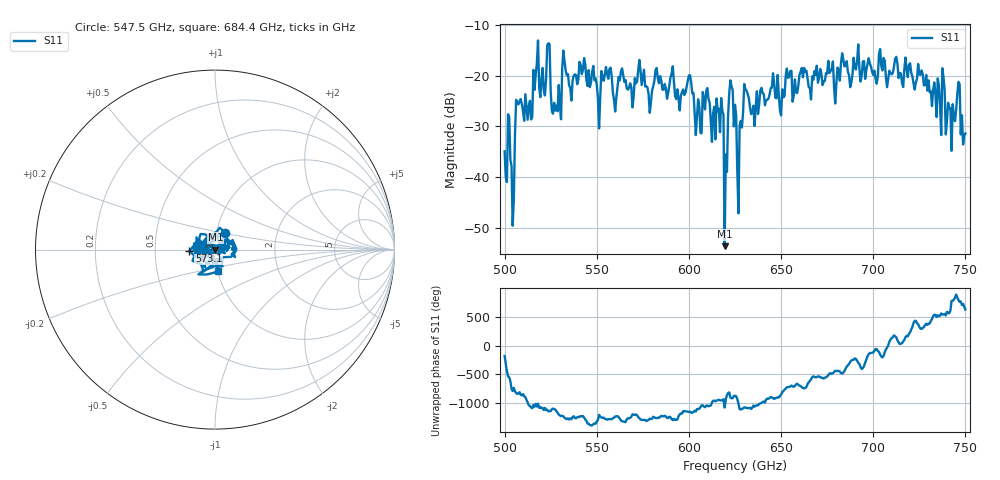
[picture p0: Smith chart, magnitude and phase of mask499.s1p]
!Created with skrf (http://scikit-rf.org).
# GHz S MA R 50.0
!freq magS11 angS11
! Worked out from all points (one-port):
!   401 points, 500 GHz to 750 GHz, reference 50 ohm
!   lowest |S11| = -53.6 dB at 619.4 GHz (marker M1), VSWR 1.00, Z = 50.2 + j0.0239 ohm
!   |S11| at or under -10 dB: start of sweep to end of sweep
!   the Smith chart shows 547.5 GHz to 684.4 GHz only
!   S11 on the Smith chart (normalised r, x): 547.5 GHz: 1.10, +0.21; 573.1 GHz: 0.75, -0.01; 684.4 GHz: 1.01, -0.25
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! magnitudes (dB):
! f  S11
! 500 GHz  -34.9
! 502.5 GHz  -28.2
! 504.4 GHz  -49.6
! 507.5 GHz  -25.7
! 513.8 GHz  -24.9
! 516.9 GHz  -19.7
! 523.8 GHz  -13.6
! 526.9 GHz  -25.3
! 531.2 GHz  -18.5
! 547.5 GHz  -19.2
! 562.5 GHz  -20.9
! 573.1 GHz  -16.9
! 593.8 GHz  -22.7
! 616.2 GHz  -26.5
! 619.4 GHz  -53.6
! 620.6 GHz  -38.9
! 622.5 GHz  -20.9
! 625 GHz  -25.7
! 627.5 GHz  -29.9
! 631.2 GHz  -22.9
! 635 GHz  -25.9
! 656.2 GHz  -25.1
! 684.4 GHz  -18.2
! 687.5 GHz  -22.3
! 718.8 GHz  -20.3
! 741.2 GHz  -26.4
! 745.6 GHz  -23.6
! 750 GHz  -31.4
